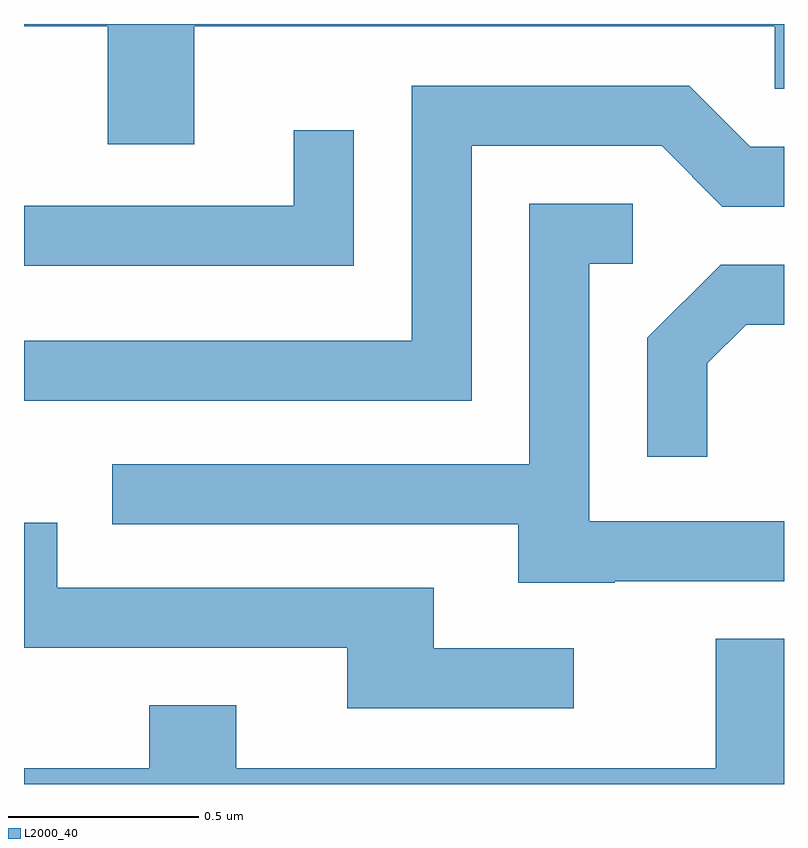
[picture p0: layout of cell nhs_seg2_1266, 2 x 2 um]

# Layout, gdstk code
import gdstk
lib = gdstk.Library(unit=1e-6, precision=1e-09)
def P(c, l, *ps):  # polygons
    for p in ps: c.add(gdstk.Polygon(p, *l))
L2000_40 = (2000, 40)

nhs_seg2_1266 = lib.new_cell('nhs_seg2_1266')
P(nhs_seg2_1266, L2000_40, [(195.059,1012.796),(196.586,1012.796),(196.586,1012.631),(196.611,1012.631),(196.611,1012.802),(194.611,1012.802),(194.611,1012.796),(194.831,1012.796),(194.831,1012.486),(195.059,1012.486)],
  [(195.789,1012.481),(196.289,1012.481),(196.449,1012.321),(196.611,1012.321),(196.611,1012.479),(196.522,1012.479),(196.362,1012.639),(195.631,1012.639),(195.631,1011.969),(194.611,1011.969),(194.611,1011.811),(195.789,1011.811)],
  [(195.479,1012.523),(195.321,1012.523),(195.321,1012.324),(194.611,1012.324),(194.611,1012.166),(195.479,1012.166)],
  [(196.165,1011.336),(196.611,1011.336),(196.611,1011.494),(196.099,1011.494),(196.099,1012.171),(196.213,1012.171),(196.213,1012.329),(195.941,1012.329),(195.941,1011.644),(194.843,1011.644),(194.843,1011.486),(195.911,1011.486),(195.911,1011.331),(196.165,1011.331)],
  [(196.409,1011.909),(196.512,1012.011),(196.611,1012.011),(196.611,1012.169),(196.444,1012.169),(196.251,1011.977),(196.251,1011.663),(196.409,1011.663)],
  [(196.058,1011.159),(195.689,1011.159),(195.689,1011.319),(194.699,1011.319),(194.699,1011.489),(194.611,1011.489),(194.611,1011.161),(195.461,1011.161),(195.461,1011.001),(196.058,1011.001)],
  [(196.611,1011.184),(196.431,1011.184),(196.431,1010.844),(195.169,1010.844),(195.169,1011.009),(194.941,1011.009),(194.941,1010.844),(194.611,1010.844),(194.611,1010.802),(196.611,1010.802)])

lib.write_gds('nhs_seg2_1266.gds')
